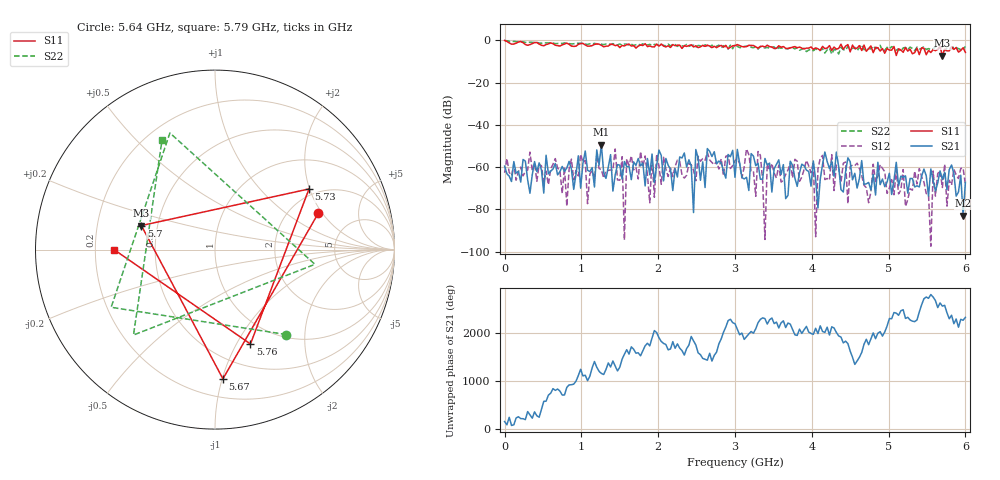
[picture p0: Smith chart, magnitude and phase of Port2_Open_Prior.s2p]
#  HZ  S  DB  R  50.0
! Rohde & Schwarz ZVL13 2Ports - Version 3.20 - 1303.6509k13 SN: 100953
! Date: 2024-10-21 06:07:21
! Data & Calibration Information:
! Trc1:S11(Cal Off) Trc4:S21(Cal Off) Trc2:S12(Cal Off) Trc3:S22(Cal Off)
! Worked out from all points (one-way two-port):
!   201 points, 5 kHz to 6 GHz, reference 50 ohm
!   highest |S21| = -49.28 dB at 1.26 GHz (marker M1); lowest = -83.0 dB at 5.97 GHz (marker M2)
!   lowest |S11| = -7.3 dB at 5.7 GHz (marker M3), VSWR 2.52, Z = 20.3 + j6.67 ohm
!   |S11| at or under -10 dB: nowhere
!   |S22| runs from -6.5 to -0.1 dB; largest |S21 - S12| = 0.0047
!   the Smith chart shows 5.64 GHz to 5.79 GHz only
!   S11 on the Smith chart (normalised r, x): 5.64 GHz: 2.84, +1.83; 5.67 GHz: 0.34, -1.01; 5.7 GHz: 0.41, +0.13; 5.73 GHz: 1.79, +1.98; 5.76 GHz: 0.74, -1.14; 5.79 GHz: 0.28, -0.00
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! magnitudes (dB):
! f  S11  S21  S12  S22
! 5 kHz  -0.1  -59.5  -62.6  -0.1
! 1.02 GHz  -1.5  -58.2  -57.6  -1.6
! 1.26 GHz  -2.3  -49.3  -61.1  -1.8
! 1.41 GHz  -2.0  -71.3  -61.5  -1.6
! 2.01 GHz  -2.7  -51.9  -59.6  -2.6
! 2.46 GHz  -3.1  -81.5  -61.4  -2.3
! 2.49 GHz  -2.6  -51.6  -66.4  -3.2
! 3 GHz  -2.5  -64.8  -57.0  -1.8
! 3.33 GHz  -2.9  -65.7  -54.3  -2.9
! 3.39 GHz  -3.2  -55.9  -94.2  -3.6
! 4.02 GHz  -4.3  -57.1  -57.6  -4.9
! 4.05 GHz  -3.6  -65.8  -92.9  -4.0
! 4.14 GHz  -2.9  -58.7  -54.4  -3.9
! 5.01 GHz  -4.6  -62.9  -69.9  -4.0
! 5.64 GHz  -4.3  -67.4  -63.1  -4.2
! 5.67 GHz  -2.8  -61.8  -61.7  -3.6
! 5.7 GHz  -7.3  -65.9  -69.6  -3.1
! 5.73 GHz  -4.1  -62.4  -58.6  -5.0
! 5.76 GHz  -5.0  -70.5  -78.4  -3.6
! 5.79 GHz  -5.0  -61.1  -66.2  -3.4
! 5.97 GHz  -3.5  -83.0  -60.4  -4.2
! 6 GHz  -5.7  -67.2  -68.1  -2.9
